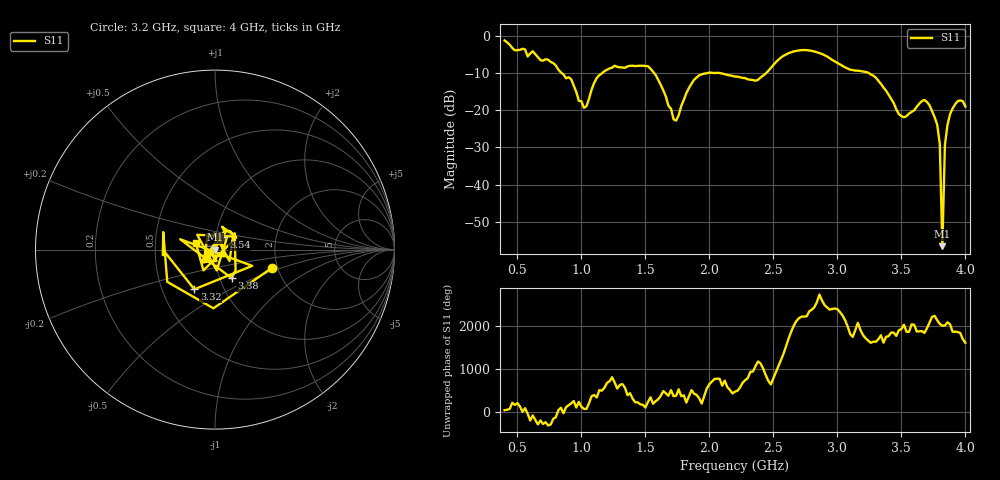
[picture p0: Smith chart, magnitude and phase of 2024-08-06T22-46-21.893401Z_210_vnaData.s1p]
!Created with skrf (http://scikit-rf.org).
# Hz S RI R 50.0
!freq ReS11 ImS11
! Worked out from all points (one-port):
!   181 points, 400 MHz to 4 GHz, reference 50 ohm
!   lowest |S11| = -56.6 dB at 3.82 GHz (marker M1), VSWR 1.00, Z = 49.9 - j0.0483 ohm
!   |S11| at or under -10 dB: 1.569 GHz to 1.985 GHz (416.9 MHz wide, 23.5 % of centre); 2.085 GHz to 2.443 GHz (358 MHz wide, 15.8 % of centre); 3.246 GHz to end of sweep (the widest 3 of 4)
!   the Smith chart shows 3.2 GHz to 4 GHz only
!   S11 on the Smith chart (normalised r, x): 3.2 GHz: 1.86, -0.43; 3.32 GHz: 0.73, -0.34; 3.38 GHz: 1.14, -0.37; 3.54 GHz: 1.09, +0.15; 4 GHz: 0.81, +0.06
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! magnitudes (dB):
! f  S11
! 400 MHz  -1.2
! 860 MHz  -10.4
! 920 MHz  -11.7
! 1.02 GHz  -19.4
! 1.12 GHz  -11.3
! 1.3 GHz  -8.5
! 1.52 GHz  -8.1
! 1.62 GHz  -13.2
! 1.72 GHz  -22.4
! 1.76 GHz  -21.4
! 1.92 GHz  -10.6
! 2.2 GHz  -10.9
! 2.38 GHz  -11.8
! 2.66 GHz  -4.1
! 3.1 GHz  -9.1
! 3.2 GHz  -9.6
! 3.32 GHz  -12.1
! 3.38 GHz  -14.7
! 3.54 GHz  -21.6
! 3.56 GHz  -20.9
! 3.68 GHz  -17.2
! 3.78 GHz  -23.9
! 3.8 GHz  -29.1
! 3.82 GHz  -56.6
! 3.84 GHz  -29.3
! 3.86 GHz  -24.0
! 3.94 GHz  -17.5
! 4 GHz  -19.0
